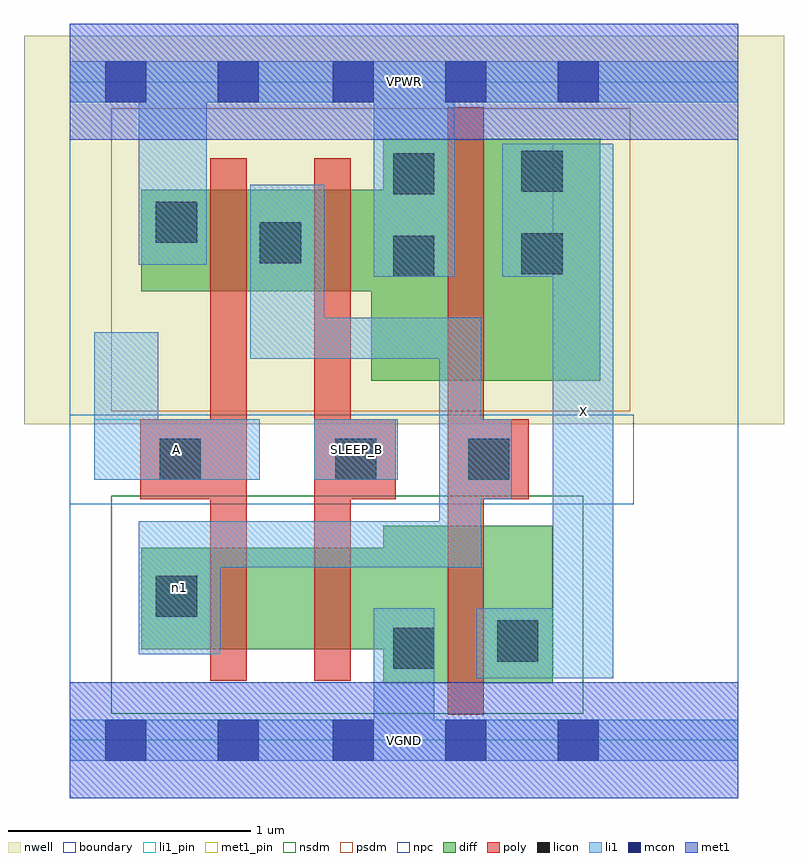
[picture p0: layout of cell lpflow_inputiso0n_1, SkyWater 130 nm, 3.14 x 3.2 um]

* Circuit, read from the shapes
.subckt lpflow_inputiso0n_1 A SLEEP_B VGND VPWR X n1
XM1 n2 A n1 VSUBS sky130_fd_pr__nfet_01v8 w=0.42 l=0.15
XM2 VGND SLEEP_B n2 VSUBS sky130_fd_pr__nfet_01v8 w=0.42 l=0.15
XM3 X n1 VGND VSUBS sky130_fd_pr__nfet_01v8 w=0.65 l=0.15
XM4 n1 A VPWR n3 sky130_fd_pr__pfet_01v8 w=0.42 l=0.15
XM5 VPWR SLEEP_B n1 n3 sky130_fd_pr__pfet_01v8 w=0.42 l=0.15
XM6 X n1 VPWR n3 sky130_fd_pr__pfet_01v8 w=1 l=0.15
.ends

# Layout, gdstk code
import gdstk
lib = gdstk.Library(unit=1e-6, precision=1e-09)
def R(c, l, rs):  # rectangles x0, y0, x1, y1
    for r in rs: c.add(gdstk.rectangle(r[:2], r[2:], *l))
def A(c, l, x, y, w, h, nx, ny, dx, dy):  # array of equal rectangles
    R(c, l, [(x+i*dx, y+j*dy, x+i*dx+w, y+j*dy+h) for i in range(nx) for j in range(ny)])
nwell = (64, 20)
diff = (65, 20)
poly = (66, 20)
licon = (66, 44)
li1_pin = (67, 16)
li1 = (67, 20)
mcon = (67, 44)
met1_pin = (68, 16)
met1 = (68, 20)
nsdm = (93, 44)
psdm = (94, 20)
npc = (95, 20)
boundary = (235, 4)

lpflow_inputiso0n_1 = lib.new_cell('lpflow_inputiso0n_1')
R(lpflow_inputiso0n_1, nwell, [(-0.19,1.305,2.95,2.91), (0,1.305,2.76,2.91)])
R(lpflow_inputiso0n_1, diff, [(1.295,0.235,1.995,0.885), (0.295,0.375,1.995,0.795), (1.245,1.485,2.19,2.275), (1.295,1.485,2.19,2.485), (0.295,1.855,2.19,2.275)])
R(lpflow_inputiso0n_1, poly, [(1.56,0.105,1.71,2.615), (0.58,0.245,0.73,2.405), (1.01,0.245,1.16,2.405), (0.29,0.995,0.73,1.325), (1.01,0.995,1.345,1.325), (1.56,0.995,1.895,1.325)])
R(lpflow_inputiso0n_1, licon, [(1.335,0.295,1.505,0.465), (1.765,0.325,1.935,0.495), (0.355,0.51,0.525,0.68), (0.37,1.075,0.54,1.245), (1.095,1.075,1.265,1.245), (1.645,1.075,1.815,1.245), (1.335,1.915,1.505,2.085), (1.865,1.925,2.035,2.095), (0.785,1.97,0.955,2.14), (0.355,2.055,0.525,2.225), (1.335,2.255,1.505,2.425), (1.865,2.265,2.035,2.435)])
R(lpflow_inputiso0n_1, li1_pin, [(1.995,0.255,2.245,2.465), (0.1,1.075,0.785,1.325), (1.01,1.075,1.355,1.325)])
R(lpflow_inputiso0n_1, li1, [(0,-0.085,2.76,0.085), (1.255,-0.085,1.505,0.545), (1.68,0.255,2.245,0.545), (1.995,0.255,2.245,2.465), (0.285,0.355,0.62,0.905), (0.285,0.715,1.7,0.905), (1.525,0.715,1.7,1.745), (1.525,0.995,1.825,1.325), (0.1,1.075,0.785,1.325), (0.1,1.075,0.365,1.685), (1.01,1.075,1.355,1.325), (0.745,1.575,1.05,2.295), (0.745,1.575,1.7,1.745), (1.255,1.915,1.59,2.805), (1.785,1.915,2.245,2.465), (0.285,1.965,0.565,2.805), (0,2.635,2.76,2.805)])
A(lpflow_inputiso0n_1, mcon, 1.085, -0.085, 0.17, 0.17, 3, 2, 0.465, 2.72)
R(lpflow_inputiso0n_1, mcon, [(0.145,-0.085,0.315,0.085), (0.61,-0.085,0.78,0.085), (0.145,2.635,0.315,2.805), (0.61,2.635,0.78,2.805)])
R(lpflow_inputiso0n_1, met1_pin, [(0,-0.24,2.76,0.24), (0,2.48,2.76,2.96)])
R(lpflow_inputiso0n_1, met1, [(0,-0.24,2.76,0.24), (0,2.48,2.76,2.96)])
R(lpflow_inputiso0n_1, nsdm, [(0.17,0.11,2.12,1.01)])
R(lpflow_inputiso0n_1, psdm, [(0.17,1.36,2.315,2.61)])
R(lpflow_inputiso0n_1, npc, [(0,0.975,2.33,1.345)])
R(lpflow_inputiso0n_1, boundary, [(0,0,2.76,2.72)])
lpflow_inputiso0n_1.add(gdstk.Label('A', (0.442,1.2), layer=67, texttype=5))
lpflow_inputiso0n_1.add(gdstk.Label('SLEEP_B', (1.182,1.2), layer=67, texttype=5))
lpflow_inputiso0n_1.add(gdstk.Label('X', (2.12,1.36), layer=67, texttype=5))
lpflow_inputiso0n_1.add(gdstk.Label('n1', (0.452,0.63), layer=67, texttype=5))
lpflow_inputiso0n_1.add(gdstk.Label('VPWR', (1.38,2.72), layer=68, texttype=5))
lpflow_inputiso0n_1.add(gdstk.Label('VGND', (1.38,0), layer=68, texttype=5))
lpflow_inputiso0n_1.add(gdstk.Label('A', (0.442,1.2), layer=67, texttype=16))
lpflow_inputiso0n_1.add(gdstk.Label('SLEEP_B', (1.182,1.2), layer=67, texttype=16))
lpflow_inputiso0n_1.add(gdstk.Label('X', (2.12,1.36), layer=67, texttype=16))
lpflow_inputiso0n_1.add(gdstk.Label('VPWR', (1.38,2.72), layer=68, texttype=16))
lpflow_inputiso0n_1.add(gdstk.Label('VGND', (1.38,0), layer=68, texttype=16))

lib.write_gds('lpflow_inputiso0n_1.gds')
